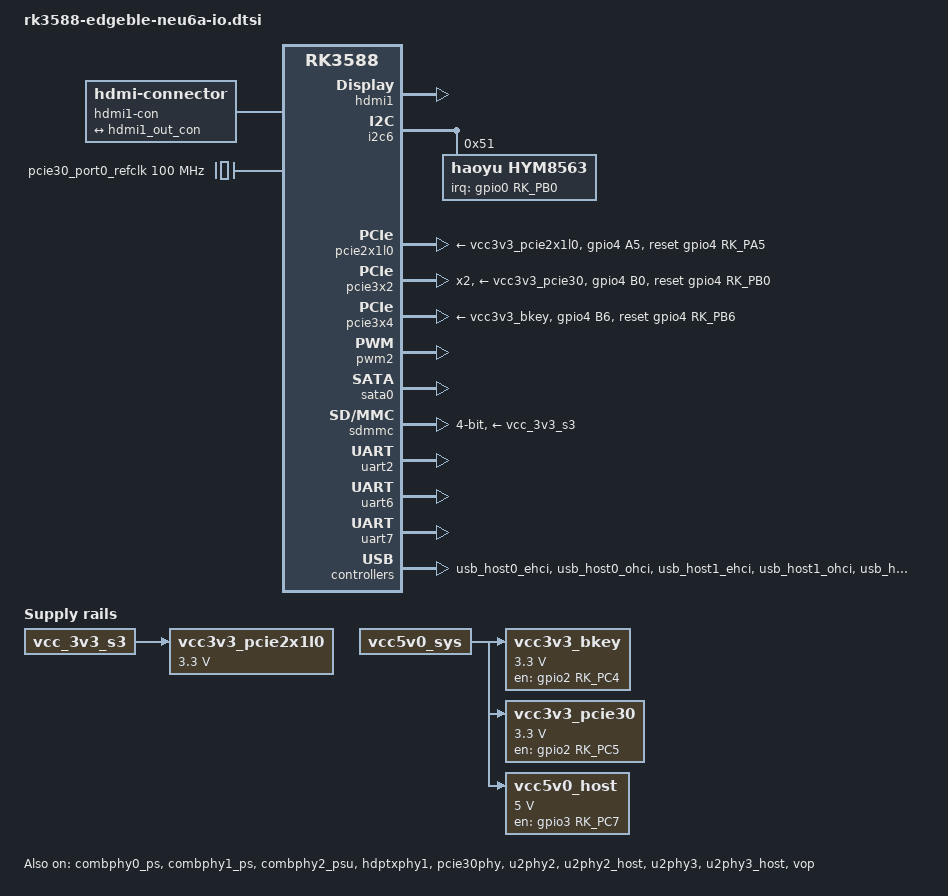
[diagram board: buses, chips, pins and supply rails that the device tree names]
// SPDX-License-Identifier: (GPL-2.0+ OR MIT)
/*
 * Copyright (c) 2023 Edgeble AI Technologies Pvt. Ltd.
 */

#include <dt-bindings/gpio/gpio.h>
#include <dt-bindings/soc/rockchip,vop2.h>

/ {
	chosen {
		stdout-path = "serial2:1500000n8";
	};

	hdmi1-con {
		compatible = "hdmi-connector";
		type = "a";

		port {
			hdmi1_con_in: endpoint {
				remote-endpoint = <&hdmi1_out_con>;
			};
		};
	};

	/* Unnamed gated oscillator: 100MHz,3.3V,3225 */
	pcie30_port0_refclk: pcie30_port1_refclk: pcie-oscillator {
		compatible = "gated-fixed-clock";
		#clock-cells = <0>;
		clock-frequency = <100000000>;
		clock-output-names = "pcie30_refclk";
		vdd-supply = <&vcc3v3_pi6c_05>;
	};

	vcc3v3_pcie2x1l0: regulator-vcc3v3-pcie2x1l0 {
		compatible = "regulator-fixed";
		regulator-name = "vcc3v3_pcie2x1l0";
		regulator-min-microvolt = <3300000>;
		regulator-max-microvolt = <3300000>;
		startup-delay-us = <5000>;
		vin-supply = <&vcc_3v3_s3>;
	};

	vcc3v3_bkey: regulator-vcc3v3-bkey {
		compatible = "regulator-fixed";
		enable-active-high;
		gpios = <&gpio2 RK_PC4 GPIO_ACTIVE_HIGH>; /* PCIE_4G_PWEN */
		pinctrl-names = "default";
		pinctrl-0 = <&pcie_4g_pwen>;
		regulator-name = "vcc3v3_bkey";
		regulator-min-microvolt = <3300000>;
		regulator-max-microvolt = <3300000>;
		startup-delay-us = <5000>;
		vin-supply = <&vcc5v0_sys>;
	};

	vcc3v3_pcie30: vcc3v3_pi6c_05: regulator-vcc3v3-pi6c-05 {
		compatible = "regulator-fixed";
		enable-active-high;
		gpios = <&gpio2 RK_PC5 GPIO_ACTIVE_HIGH>; /* PCIE30x4_PWREN_H */
		pinctrl-names = "default";
		pinctrl-0 = <&pcie30x4_pwren_h>;
		regulator-name = "vcc3v3_pcie30";
		regulator-min-microvolt = <3300000>;
		regulator-max-microvolt = <3300000>;
		startup-delay-us = <5000>;
		vin-supply = <&vcc5v0_sys>;
	};

	vcc5v0_host: regulator-vcc5v0-host {
		compatible = "regulator-fixed";
		enable-active-high;
		gpio = <&gpio3 RK_PC7 GPIO_ACTIVE_HIGH>;
		pinctrl-names = "default";
		pinctrl-0 = <&vcc5v0_host_en>;
		regulator-name = "vcc5v0_host";
		regulator-min-microvolt = <5000000>;
		regulator-max-microvolt = <5000000>;
		regulator-boot-on;
		regulator-always-on;
		vin-supply = <&vcc5v0_sys>;
	};
};

&combphy0_ps {
	status = "okay";
};

&combphy1_ps {
	status = "okay";
};

&combphy2_psu {
	status = "okay";
};

&hdmi1 {
	status = "okay";
};

&hdmi1_in {
	hdmi1_in_vp0: endpoint {
		remote-endpoint = <&vp0_out_hdmi1>;
	};
};

&hdmi1_out {
	hdmi1_out_con: endpoint {
		remote-endpoint = <&hdmi1_con_in>;
	};
};

&hdptxphy1 {
	status = "okay";
};

&i2c6 {
	status = "okay";

	hym8563: rtc@51 {
		compatible = "haoyu,hym8563";
		reg = <0x51>;
		interrupt-parent = <&gpio0>;
		interrupts = <RK_PB0 IRQ_TYPE_LEVEL_LOW>;
		#clock-cells = <0>;
		clock-output-names = "hym8563";
		pinctrl-names = "default";
		pinctrl-0 = <&hym8563_int>;
		wakeup-source;
	};
};

/* ETH */
&pcie2x1l0 {
	pinctrl-names = "default";
	pinctrl-0 = <&pcie2_0_rst>;
	reset-gpios = <&gpio4 RK_PA5 GPIO_ACTIVE_HIGH>; /* PCIE20_1_PERST_L */
	vpcie3v3-supply = <&vcc3v3_pcie2x1l0>;
	status = "okay";
};

&pcie30phy {
	data-lanes = <1 1 2 2>;
	/* separate clock lines from the clock generator to phy and devices */
	rockchip,rx-common-refclk-mode = <0 0 0 0>;
	status = "okay";
};

/* M-Key */
&pcie3x2 {
	/*
	 * The board has a "pcie_refclk" oscillator that needs enabling,
	 * so add it to the list of clocks.
	 */
	clocks = <&cru ACLK_PCIE_2L_MSTR>, <&cru ACLK_PCIE_2L_SLV>,
		 <&cru ACLK_PCIE_2L_DBI>, <&cru PCLK_PCIE_2L>,
		 <&cru CLK_PCIE_AUX1>, <&cru CLK_PCIE2L_PIPE>,
		 <&pcie30_port1_refclk>;
	clock-names = "aclk_mst", "aclk_slv",
		      "aclk_dbi", "pclk",
		      "aux", "pipe",
		      "ref";
	num-lanes = <2>;
	pinctrl-names = "default";
	pinctrl-0 = <&pcie30x2_perstn_m1_l>;
	reset-gpios = <&gpio4 RK_PB0 GPIO_ACTIVE_HIGH>; /* PCIE30X2_PERSTn_M1_L */
	vpcie3v3-supply = <&vcc3v3_pcie30>;
	status = "okay";
};

/* B-Key and E-Key */
&pcie3x4 {
	/*
	 * The board has a "pcie_refclk" oscillator that needs enabling,
	 * so add it to the list of clocks.
	 */
	clocks = <&cru ACLK_PCIE_4L_MSTR>, <&cru ACLK_PCIE_4L_SLV>,
		 <&cru ACLK_PCIE_4L_DBI>, <&cru PCLK_PCIE_4L>,
		 <&cru CLK_PCIE_AUX0>, <&cru CLK_PCIE4L_PIPE>,
		 <&pcie30_port0_refclk>;
	clock-names = "aclk_mst", "aclk_slv",
		      "aclk_dbi", "pclk",
		      "aux", "pipe",
		      "ref";
	pinctrl-names = "default";
	pinctrl-0 = <&pcie30x4_perstn_m1_l>;
	reset-gpios = <&gpio4 RK_PB6 GPIO_ACTIVE_HIGH>; /* PCIE30X4_PERSTn_M1_L */
	vpcie3v3-supply = <&vcc3v3_bkey>;
	status = "okay";
};

&pinctrl {
	pcie2 {
		pcie2_0_rst: pcie2-0-rst {
			rockchip,pins = <4 RK_PA5 RK_FUNC_GPIO &pcfg_pull_none>;
		};
	};

	pcie3 {
		pcie30x2_perstn_m1_l: pcie30x2-perstn-m1-l {
			rockchip,pins = <4 RK_PB0 RK_FUNC_GPIO &pcfg_pull_none>;
		};

		pcie_4g_pwen: pcie-4g-pwen {
			rockchip,pins = <2 RK_PC4 RK_FUNC_GPIO &pcfg_pull_down>;
		};

		pcie30x4_perstn_m1_l: pcie30x4-perstn-m1-l {
			rockchip,pins = <4 RK_PB6 RK_FUNC_GPIO &pcfg_pull_none>;
		};

		pcie30x4_pwren_h: pcie30x4-pwren-h {
			rockchip,pins = <2 RK_PC5 RK_FUNC_GPIO &pcfg_pull_down>;
		};
	};

	hym8563 {
		hym8563_int: hym8563-int {
			rockchip,pins = <0 RK_PB0 RK_FUNC_GPIO &pcfg_pull_none>;
		};
	};

	usb {
		vcc5v0_host_en: vcc5v0-host-en {
			rockchip,pins = <3 RK_PC7 RK_FUNC_GPIO &pcfg_pull_none>;
		};
	};
};

/* FAN */
&pwm2 {
	pinctrl-0 = <&pwm2m1_pins>;
	pinctrl-names = "default";
	status = "okay";
};

&sata0 {
	status = "okay";
};

&sdmmc {
	bus-width = <4>;
	cap-mmc-highspeed;
	cap-sd-highspeed;
	disable-wp;
	no-sdio;
	no-mmc;
	sd-uhs-sdr104;
	vmmc-supply = <&vcc_3v3_s3>;
	vqmmc-supply = <&vccio_sd_s0>;
	status = "okay";
};

&uart2 {
	pinctrl-0 = <&uart2m0_xfer>;
	status = "okay";
};

/* RS232 */
&uart6 {
	pinctrl-0 = <&uart6m0_xfer>;
	pinctrl-names = "default";
	status = "okay";
};

/* RS485 */
&uart7 {
	pinctrl-0 = <&uart7m2_xfer>;
	pinctrl-names = "default";
	status = "okay";
};

&u2phy2 {
	status = "okay";
};

&u2phy2_host {
	/* connected to USB hub, which is powered by vcc5v0_sys */
	phy-supply = <&vcc5v0_sys>;
	status = "okay";
};

&u2phy3 {
	status = "okay";
};

&u2phy3_host {
	phy-supply = <&vcc5v0_host>;
	status = "okay";
};

&usb_host0_ehci {
	status = "okay";
};

&usb_host0_ohci {
	status = "okay";
};

&usb_host1_ehci {
	status = "okay";
};

&usb_host1_ohci {
	status = "okay";
};

&usb_host2_xhci {
	status = "okay";
};

&vop_mmu {
	status = "okay";
};

&vop {
	status = "okay";
};

&vp0 {
	vp0_out_hdmi1: endpoint@ROCKCHIP_VOP2_EP_HDMI1 {
		reg = <ROCKCHIP_VOP2_EP_HDMI1>;
		remote-endpoint = <&hdmi1_in_vp0>;
	};
};
